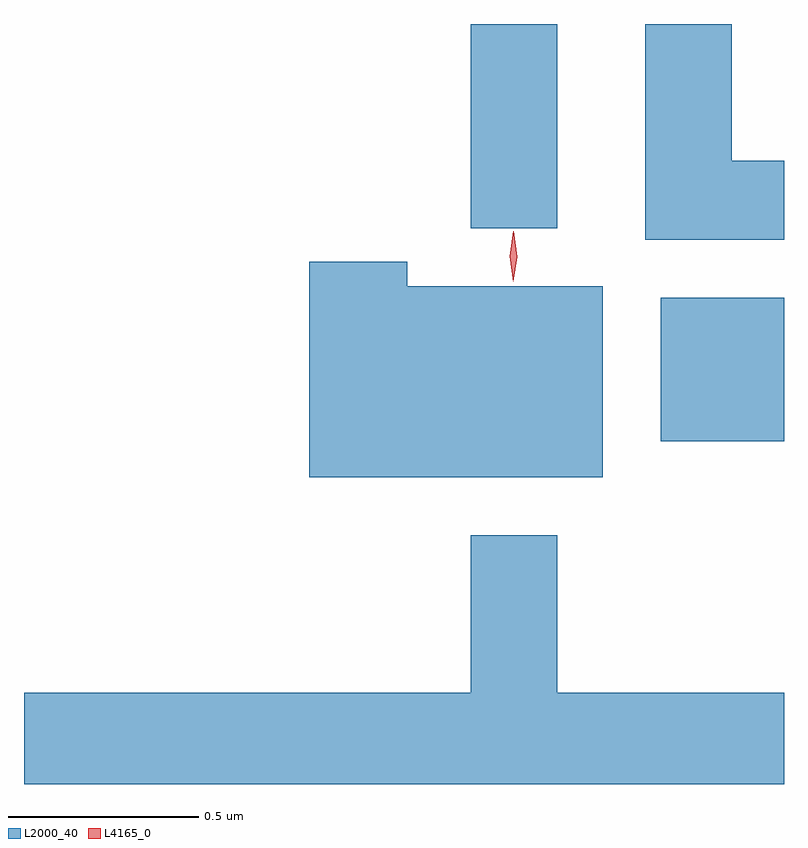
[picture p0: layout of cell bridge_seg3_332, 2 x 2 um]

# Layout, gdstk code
import gdstk
lib = gdstk.Library(unit=1e-6, precision=1e-09)
def R(c, l, rs):  # rectangles x0, y0, x1, y1
    for r in rs: c.add(gdstk.rectangle(r[:2], r[2:], *l))
def P(c, l, *ps):  # polygons
    for p in ps: c.add(gdstk.Polygon(p, *l))
L2000_40 = (2000, 40)
L4165_0 = (4165, 0)

bridge_seg3_332 = lib.new_cell('bridge_seg3_332')
R(bridge_seg3_332, L2000_40, [(528.841,1158.026,529.166,1158.404), (528.341,1158.586,528.569,1159.124)])
P(bridge_seg3_332, L2000_40, [(529.166,1158.764),(529.029,1158.764),(529.029,1159.124),(528.801,1159.124),(528.801,1158.556),(529.166,1158.556)],
  [(528.689,1158.434),(528.174,1158.434),(528.174,1158.499),(527.916,1158.499),(527.916,1157.931),(528.689,1157.931)],
  [(529.166,1157.364),(528.569,1157.364),(528.569,1157.779),(528.341,1157.779),(528.341,1157.364),(527.166,1157.364),(527.166,1157.124),(529.166,1157.124)])
P(bridge_seg3_332, L4165_0, [(528.453,1158.446),(528.453,1158.446),(528.444,1158.513),(528.454,1158.579),(528.454,1158.579),(528.455,1158.579),(528.464,1158.512),(528.454,1158.446)])

lib.write_gds('bridge_seg3_332.gds')
